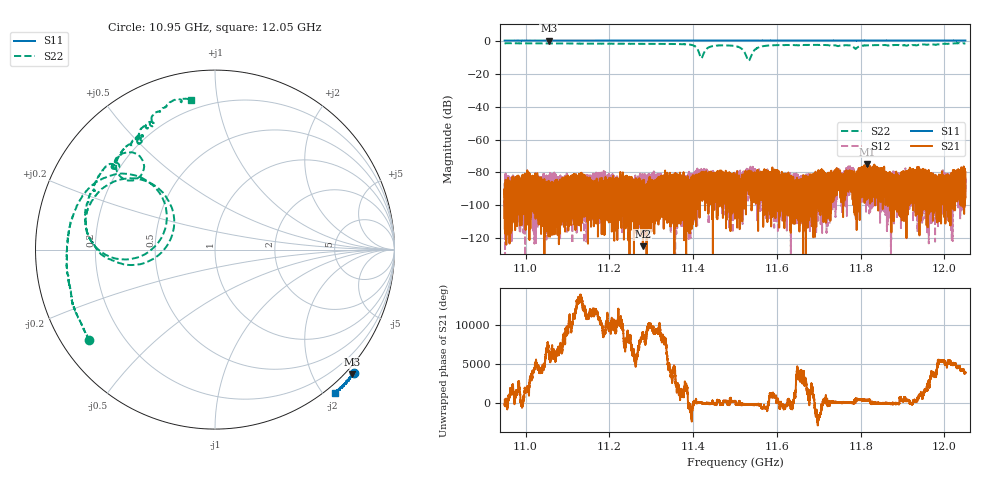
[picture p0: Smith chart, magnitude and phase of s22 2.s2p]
!Agilent Technologies,E8362C,MY49020356,A.09.42.23
!Agilent E8362C: A.09.42.23
!Date: Saturday, September 11, 2021 04:12:53
!Correction: S11(Full 2 Port(1,2))
!S21(Full 2 Port(1,2))
!S12(Full 2 Port(1,2))
!S22(Full 2 Port(1,2))
!S2P File: Measurements: S11, S21, S12, S22:
# Hz S  MA  R 50
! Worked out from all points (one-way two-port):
!   32001 points, 10.95 GHz to 12.05 GHz, reference 50 ohm
!   highest |S21| = -74.84 dB at 11.82 GHz (marker M1); lowest = -124.9 dB at 11.28 GHz (marker M2)
!   lowest |S11| = 0.3 dB at 11.06 GHz (marker M3)
!   |S11| at or under -10 dB: nowhere
!   |S22| runs from -12.0 to -1.2 dB; largest |S21 - S12| = 0.00015
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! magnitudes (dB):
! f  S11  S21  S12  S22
! 10.95 GHz  0.3  -93.1  -100.9  -1.3
! 11.06 GHz  0.3  -93.3  -84.3  -1.4
! 11.13 GHz  0.3  -83.4  -85.8  -1.5
! 11.28 GHz  0.3  -124.9  -90.2  -1.7
! 11.32 GHz  0.3  -90.5  -90.1  -1.7
! 11.4 GHz  0.3  -95.5  -87.8  -2.4
! 11.41 GHz  0.3  -97.5  -89.4  -3.7
! 11.42 GHz  0.3  -86.1  -80.3  -8.9
! 11.42 GHz  0.3  -84.4  -80.5  -10.4
! 11.43 GHz  0.3  -83.7  -91.3  -4.7
! 11.44 GHz  0.3  -86.5  -85.2  -3.3
! 11.5 GHz  0.4  -87.7  -84.8  -3.0
! 11.52 GHz  0.4  -99.9  -82.9  -4.8
! 11.53 GHz  0.4  -80.2  -78.1  -12.0
! 11.55 GHz  0.3  -86.2  -82.7  -5.2
! 11.56 GHz  0.3  -92.9  -92.8  -3.4
! 11.68 GHz  0.3  -91.2  -87.7  -2.3
! 11.77 GHz  0.4  -82.5  -79.5  -2.5
! 11.79 GHz  0.3  -87.8  -90.7  -4.6
! 11.82 GHz  0.3  -74.8  -85.6  -2.6
! 11.87 GHz  0.4  -84.6  -91.8  -2.6
! 12.05 GHz  0.4  -95.1  -83.2  -1.5
